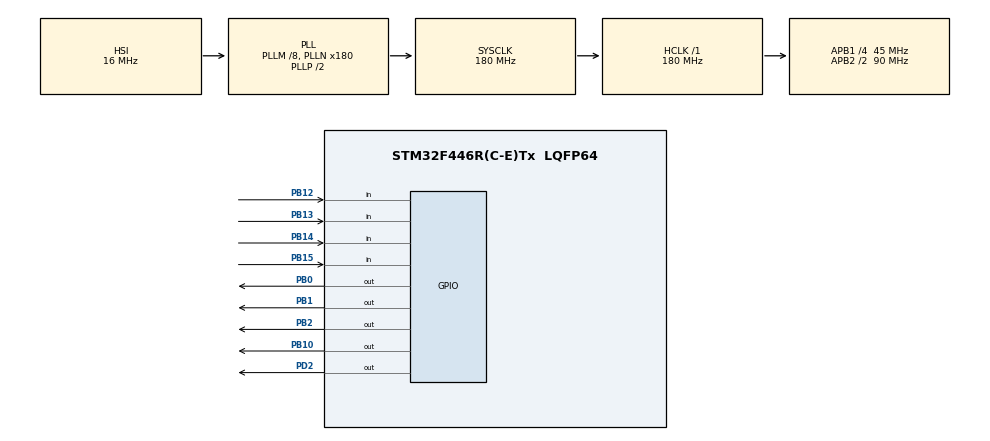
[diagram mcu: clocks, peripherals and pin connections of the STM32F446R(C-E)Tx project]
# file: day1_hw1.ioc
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Mcu.Family=STM32F4
Mcu.Name=STM32F446R(C-E)Tx
Mcu.Package=LQFP64
NVIC.PriorityGroup=NVIC_PRIORITYGROUP_4
PA13.Mode=Serial_Wire
PA13.Signal=SYS_JTMS-SWDIO
PA14.Mode=Serial_Wire
PA14.Signal=SYS_JTCK-SWCLK
PB0.Signal=GPIO_Output
PB1.Signal=GPIO_Output
PB10.Signal=GPIO_Output
PB12.Signal=GPIO_Input
PB13.Signal=GPIO_Input
PB14.Signal=GPIO_Input
PB15.Signal=GPIO_Input
PB2.Signal=GPIO_Output
PD2.Signal=GPIO_Output
PH0-OSC_IN.Mode=HSE-External-Oscillator
PH0-OSC_IN.Signal=RCC_OSC_IN
PH1-OSC_OUT.Mode=HSE-External-Oscillator
PH1-OSC_OUT.Signal=RCC_OSC_OUT
ProjectManager.HeapSize=0x200
ProjectManager.StackSize=0x400
ProjectManager.TargetToolchain=STM32CubeIDE
RCC.AHBFreq_Value=180000000
RCC.APB1CLKDivider=RCC_HCLK_DIV4
RCC.APB1Freq_Value=45000000
RCC.APB1TimFreq_Value=90000000
RCC.APB2CLKDivider=RCC_HCLK_DIV2
RCC.APB2Freq_Value=90000000
RCC.APB2TimFreq_Value=180000000
RCC.CortexFreq_Value=180000000
RCC.HCLKFreq_Value=180000000
RCC.HSE_VALUE=16000000
RCC.PLLM=8
RCC.PLLN=180
RCC.SYSCLKFreq_VALUE=180000000
RCC.SYSCLKSource=RCC_SYSCLKSOURCE_PLLCLK
RCC.USBFreq_Value=180000000
RCC.VCOOutputFreq_Value=360000000
board=custom

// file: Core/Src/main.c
/* USER CODE BEGIN Header */
/**
  ******************************************************************************
  * @file           : main.c
  * @brief          : Main program body
  ******************************************************************************
  * @attention
  *
  * Copyright (c) 2026 STMicroelectronics.
  * All rights reserved.
  *
  * This software is licensed under terms that can be found in the LICENSE file
  * in the root directory of this software component.
  * If no LICENSE file comes with this software, it is provided AS-IS.
  *
  ******************************************************************************
  */
/* USER CODE END Header */
#include "main.h"
#include "gpio.h"

/* USER CODE BEGIN PD */
/* 동작이 반대로 나오면 아래 세 줄을 뒤집는다 */
#define SW_PRESSED              GPIO_PIN_RESET
#define LED_ON                  GPIO_PIN_RESET
#define LED_OFF                 GPIO_PIN_SET

#define SW_PORT                 GPIOB
#define SW_RIGHT_PIN            GPIO_PIN_12
#define SW_INVERT_PIN           GPIO_PIN_13
#define SW_WIDE_PIN             GPIO_PIN_14
#define SW_PAUSE_PIN            GPIO_PIN_15

#define PD2_PORT                GPIOD
#define PD2_PIN                 GPIO_PIN_2

#define LED_NUM                 4u
#define LED_MASK                0x0Fu

#define LED_SHIFT_PERIOD_MS     200u
#define PD2_TOGGLE_PERIOD_MS    500u

/* 1: PB14 누르면 켜지는 LED 2개 / 0: PB14 누르면 2칸씩 이동 */
#define SW14_MEANS_LED_COUNT    1
/* USER CODE END PD */

/* USER CODE BEGIN PV */
static GPIO_TypeDef * const LED_PORT[LED_NUM] = { GPIOB, GPIOB, GPIOB, GPIOB };
static const uint16_t       LED_PIN [LED_NUM] = { GPIO_PIN_10, GPIO_PIN_2,
                                                  GPIO_PIN_1, GPIO_PIN_0 };
/* USER CODE END PV */

void SystemClock_Config(void);
/* USER CODE BEGIN PFP */
static uint8_t sw_pressed(uint16_t pin);
static uint8_t build_pattern(uint8_t pos, uint8_t width);
static void    led_write(uint8_t pattern);
/* USER CODE END PFP */

/* USER CODE BEGIN 0 */
static uint8_t sw_pressed(uint16_t pin)
{
  return (HAL_GPIO_ReadPin(SW_PORT, pin) == SW_PRESSED) ? 1u : 0u;
}

/* pos 부터 width 개를 켠 4비트 패턴. 끝을 넘으면 앞으로 돌아온다 */
static uint8_t build_pattern(uint8_t pos, uint8_t width)
{
  uint8_t pattern = 0u;
  uint8_t i;

  for (i = 0u; i < width; i++)
  {
    pattern |= (uint8_t)(1u << ((pos + i) % LED_NUM));
  }
  return (uint8_t)(pattern & LED_MASK);
}

static void led_write(uint8_t pattern)
{
  uint8_t i;

  for (i = 0u; i < LED_NUM; i++)
  {
    GPIO_PinState state = (pattern & (1u << i)) ? LED_ON : LED_OFF;
    HAL_GPIO_WritePin(LED_PORT[i], LED_PIN[i], state);
  }
}
/* USER CODE END 0 */

int main(void)
{

  /* MCU Configuration--------------------------------------------------------*/

  /* Reset of all peripherals, Initializes the Flash interface and the Systick. */
  HAL_Init();

  /* Configure the system clock */
  SystemClock_Config();

  /* Initialize all configured peripherals */
  MX_GPIO_Init();
  /* USER CODE BEGIN 2 */
  uint32_t t_shift  = HAL_GetTick();
  uint32_t t_toggle = HAL_GetTick();

  uint8_t       led_pos   = 0u;
  GPIO_PinState pd2_state = LED_OFF;

  led_write(build_pattern(led_pos, 1u));
  HAL_GPIO_WritePin(PD2_PORT, PD2_PIN, pd2_state);
  /* USER CODE END 2 */

  /* Infinite loop */
  while (1)
  {

    /* USER CODE BEGIN 3 */
    uint32_t now = HAL_GetTick();

    /* 스위치는 서로 독립이라 따로 읽는다 (동시 입력 허용) */
    uint8_t sw_right  = sw_pressed(SW_RIGHT_PIN);
    uint8_t sw_invert = sw_pressed(SW_INVERT_PIN);
    uint8_t sw_wide   = sw_pressed(SW_WIDE_PIN);
    uint8_t sw_pause  = sw_pressed(SW_PAUSE_PIN);

#if SW14_MEANS_LED_COUNT
    uint8_t width = sw_wide ? 2u : 1u;
    uint8_t step  = 1u;
#else
    uint8_t width = 1u;
    uint8_t step  = sw_wide ? 2u : 1u;
#endif

    if ((now - t_shift) >= LED_SHIFT_PERIOD_MS)
    {
      t_shift = now;

      if (sw_right)
      {
        /* 우측 이동. 음수 방지를 위해 LED_NUM 을 더하고 나머지를 취한다 */
        led_pos = (uint8_t)((led_pos + LED_NUM - step) % LED_NUM);
      }
      else
      {
        led_pos = (uint8_t)((led_pos + step) % LED_NUM);
      }
    }

    /* 매 루프 출력해야 PB13, PB14 가 다음 shift 를 안 기다리고 바로 반영된다 */
    uint8_t pattern = build_pattern(led_pos, width);

    if (sw_invert)
    {
      pattern = (uint8_t)((~pattern) & LED_MASK);
    }
    led_write(pattern);

    /* PB15 를 누르는 동안은 WritePin 을 안 해서 직전 상태가 유지된다 */
    if (sw_pause)
    {
      t_toggle = now;
    }
    else if ((now - t_toggle) >= PD2_TOGGLE_PERIOD_MS)
    {
      t_toggle  = now;
      pd2_state = (pd2_state == LED_ON) ? LED_OFF : LED_ON;
      HAL_GPIO_WritePin(PD2_PORT, PD2_PIN, pd2_state);
    }
  }
  /* USER CODE END 3 */
}

void SystemClock_Config(void)
{
  RCC_OscInitTypeDef RCC_OscInitStruct = {0};
  RCC_ClkInitTypeDef RCC_ClkInitStruct = {0};

  /** Configure the main internal regulator output voltage
  */
  __HAL_RCC_PWR_CLK_ENABLE();
  __HAL_PWR_VOLTAGESCALING_CONFIG(PWR_REGULATOR_VOLTAGE_SCALE1);

  /** Initializes the RCC Oscillators according to the specified parameters
  * in the RCC_OscInitTypeDef structure.
  */
  RCC_OscInitStruct.OscillatorType = RCC_OSCILLATORTYPE_HSI;
  RCC_OscInitStruct.HSIState = RCC_HSI_ON;
  RCC_OscInitStruct.HSICalibrationValue = RCC_HSICALIBRATION_DEFAULT;
  RCC_OscInitStruct.PLL.PLLState = RCC_PLL_ON;
  RCC_OscInitStruct.PLL.PLLSource = RCC_PLLSOURCE_HSI;
  RCC_OscInitStruct.PLL.PLLM = 8;
  RCC_OscInitStruct.PLL.PLLN = 180;
  RCC_OscInitStruct.PLL.PLLP = RCC_PLLP_DIV2;
  RCC_OscInitStruct.PLL.PLLQ = 2;
  RCC_OscInitStruct.PLL.PLLR = 2;
  if (HAL_RCC_OscConfig(&RCC_OscInitStruct) != HAL_OK)
  {
    Error_Handler();
  }

  /** Activate the Over-Drive mode
  */
  if (HAL_PWREx_EnableOverDrive() != HAL_OK)
  {
    Error_Handler();
  }

  /** Initializes the CPU, AHB and APB buses clocks
  */
  RCC_ClkInitStruct.ClockType = RCC_CLOCKTYPE_HCLK|RCC_CLOCKTYPE_SYSCLK
                              |RCC_CLOCKTYPE_PCLK1|RCC_CLOCKTYPE_PCLK2;
  RCC_ClkInitStruct.SYSCLKSource = RCC_SYSCLKSOURCE_PLLCLK;
  RCC_ClkInitStruct.AHBCLKDivider = RCC_SYSCLK_DIV1;
  RCC_ClkInitStruct.APB1CLKDivider = RCC_HCLK_DIV4;
  RCC_ClkInitStruct.APB2CLKDivider = RCC_HCLK_DIV2;

  if (HAL_RCC_ClockConfig(&RCC_ClkInitStruct, FLASH_LATENCY_5) != HAL_OK)
  {
    Error_Handler();
  }
}

void Error_Handler(void)
{
  __disable_irq();
  while (1)
  {
  }
}
